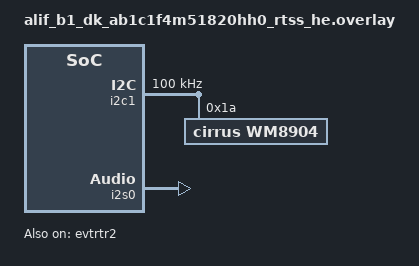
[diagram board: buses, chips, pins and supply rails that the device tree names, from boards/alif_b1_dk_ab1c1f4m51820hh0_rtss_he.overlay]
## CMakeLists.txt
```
# Copyright (C) 2025 Alif Semiconductor - All Rights Reserved.
# Use, distribution and modification of this code is permitted under the
# terms stated in the Alif Semiconductor Software License Agreement
#
# You should have received a copy of the Alif Semiconductor Software
# License Agreement with this file. If not, please write to:
# contact@alifsemi.com, or visit: https://alifsemi.com/license

cmake_minimum_required(VERSION 3.20.0)
find_package(Zephyr REQUIRED HINTS $ENV{ZEPHYR_BASE})
project(le_audio_broadcast_sink)

target_sources(app PRIVATE
    src/main.c
    src/broadcast_sink.c
    src/broadcast_source.c
    src/audio_datapath.c
    src/mode_switch_service.c
)
```

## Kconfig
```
# Copyright (C) 2025 Alif Semiconductor - All Rights Reserved.
# Use, distribution and modification of this code is permitted under the
# terms stated in the Alif Semiconductor Software License Agreement
#
# You should have received a copy of the Alif Semiconductor Software
# License Agreement with this file. If not, please write to:
# contact@alifsemi.com, or visit: https://alifsemi.com/license

menu "Alif Bluetooth LE Audio Broadcast Sink/Source"

config BLE_DEVICE_NAME
	string "BLE device name for GATT service"
	default "ALIF_MODE_SWITCH"
	help
	  Device name for the connectable GATT service (mode switching)

config BROADCAST_NAME
	string "LE audio broadcast name"
	default "ALIF_SOURCE"
	help
	  Broadcast name to connect to (sink) or advertise as (source)

config LE_AUDIO_PRESENTATION_DELAY_MS
	int "Presentation delay in ms"
	default 40
	range 0 1000
	help
	  LE audio presentation delay in ms. For the audio source use-case, this is defined as the
	  time in ms from the start of recording an audio frame, to the SDU reference anchor point
	  at which the SDU containing the same audio frame is sent over BLE.

config APP_PRINT_STATS
	bool "Print application statistics"
	default n
	help
	  Enable printing of application statistics and debug information

config APP_PRINT_STATS_INTERVAL
	int "Statistics printing interval"
	default 1024
	depends on APP_PRINT_STATS
	help
	  Interval for printing statistics (every N frames)

choice
	prompt "Choose way to determine left/right audio channels"
	default AUDIO_LOCATION_USE_GAF

	config AUDIO_LOCATION_USE_GAF
		bool "Use GAF audio location sent by audio source"
	config AUDIO_LOCATION_IMPLICIT
		bool "Assume left channel is first stream, and right channel is second"

endchoice

menu "Logging"

module = MAIN
module-str = main
source "subsys/logging/Kconfig.template.log_config"

module = BROADCAST_SINK
module-str = broadcast_sink
source "subsys/logging/Kconfig.template.log_config"

module = MODE_SWITCH_SERVICE
module-str = mode_switch_service
source "subsys/logging/Kconfig.template.log_config"

module = BROADCAST_SOURCE
module-str = broadcast_source
source "subsys/logging/Kconfig.template.log_config"

endmenu # "Logging"

endmenu # "Alif Bluetooth LE Audio Broadcast Sink/Source"

source "Kconfig.zephyr"
```

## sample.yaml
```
sample:
  name: LE Audio Broadcast Mode Switch
tests:
  sample.bt_custom.le_audio.broadcast_mode_switch:
    build_only: true
    filter: dt_alias_exists("i2s_bus")
    tags:
      - bluetooth
      - bt_custom
      - le_audio
```

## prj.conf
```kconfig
# Copyright Alif Semiconductor - All Rights Reserved.
# Use, distribution and modification of this code is permitted under the
# terms stated in the Alif Semiconductor Software License Agreement
#
# You should have received a copy of the Alif Semiconductor Software
# License Agreement with this file. If not, please write to:
# contact@alifsemi.com, or visit: https://alifsemi.com/license

CONFIG_BT=y
CONFIG_BT_CUSTOM=y
CONFIG_ALIF_ROM_LC3_CODEC=y
CONFIG_ALIF_BLE_AUDIO=y

# Device names
CONFIG_BLE_DEVICE_NAME="ALIF_MODE_SWITCH"
CONFIG_BROADCAST_NAME="ALIF_SOURCE"

CONFIG_LOG=y

CONFIG_PRESENTATION_COMPENSATION_DIRECTION_SINK=y
CONFIG_PRESENTATION_COMPENSATION_DIRECTION_SOURCE=y
CONFIG_PRESENTATION_COMPENSATION_CORRECTION_FACTOR=2

CONFIG_AUDIO=y
CONFIG_AUDIO_CODEC=y
CONFIG_AUDIO_CODEC_SHELL=y
CONFIG_SHELL=y

# This is specific to whichever clock you use. Currently presentation layer is
# commented out so this does nothing
CONFIG_AUDIO_CLOCK_DIVIDER=1

# Should be replaced by TRNG when support is available
CONFIG_TEST_RANDOM_GENERATOR=y

# malloc support is required, simplest way is using newlib although it would also be possible to
# configure heap for picolibc
CONFIG_NEWLIB_LIBC=y

# Driver support for audio
CONFIG_I2S=y
CONFIG_I2S_SYNC_BUFFER_FORMAT_SEQUENTIAL=n
CONFIG_DMA=y

# Determine left and right channels by index, not GAF
CONFIG_AUDIO_LOCATION_IMPLICIT=y

# Audio codec is WM8904, connected via I2C.
CONFIG_I2C=y
CONFIG_WM8904=y
CONFIG_I2C_INIT_PRIORITY=50
CONFIG_WM8904_INIT_PRIORITY=99

# For MRAM(XIP) builds with LLVM exception tables cause linker errors as part of the code is placed to TCM
CONFIG_CPP_EXCEPTIONS=n
```

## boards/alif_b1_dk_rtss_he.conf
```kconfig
# Copyright (C) 2023 Alif Semiconductor - All Rights Reserved.
# Use, distribution and modification of this code is permitted under the
# terms stated in the Alif Semiconductor Software License Agreement
#
# You should have received a copy of the Alif Semiconductor Software
# License Agreement with this file. If not, please write to:
# contact@alifsemi.com, or visit: https://alifsemi.com/license

# Audio driver support specific to B1 DK board.
# Audio codec is WM8904, connected via I2C.
# Audio clock is provided by SI570, connected via I2C using TCA9548 I2C mux.
CONFIG_SI570=y

# SI570 clock output is passed through a fixed /8 divider to create MCLK signal
CONFIG_AUDIO_CLOCK_DIVIDER=8

# 24 MHz FPGA bitstream is not fast enough to encode stereo
CONFIG_ALIF_BLE_AUDIO_NMB_CHANNELS=1
```

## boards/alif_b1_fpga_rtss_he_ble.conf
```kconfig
# Copyright (C) 2023 Alif Semiconductor - All Rights Reserved.
# Use, distribution and modification of this code is permitted under the
# terms stated in the Alif Semiconductor Software License Agreement
#
# You should have received a copy of the Alif Semiconductor Software
# License Agreement with this file. If not, please write to:
# contact@alifsemi.com, or visit: https://alifsemi.com/license

# Audio driver support specific to B1 FPGA board.
# Audio codec is WM8904, connected via I2C.
# Audio clock is provided by SI570, connected via I2C using TCA9548 I2C mux.
CONFIG_SI570=y
CONFIG_I2C_TCA954X_ROOT_INIT_PRIO=51
CONFIG_I2C_TCA954X_CHANNEL_INIT_PRIO=52

# SI570 clock output is passed through a fixed /8 divider to create MCLK signal
CONFIG_AUDIO_CLOCK_DIVIDER=8

# 24 MHz FPGA bitstream is not fast enough to encode stereo
CONFIG_ALIF_BLE_AUDIO_NMB_CHANNELS=1
```

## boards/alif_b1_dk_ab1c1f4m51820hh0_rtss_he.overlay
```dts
/* Copyright Alif Semiconductor - All Rights Reserved.
 * Use, distribution and modification of this code is permitted under the
 * terms stated in the Alif Semiconductor Software License Agreement
 *
 * You should have received a copy of the Alif Semiconductor Software
 * License Agreement with this file. If not, please write to:
 * contact@alifsemi.com, or visit: https://alifsemi.com/license
 *
 */

#include <dt-bindings/pinctrl/balletto-pinctrl.h>
#include <dt-bindings/i2c/i2c.h>
#include <dt-bindings/gpio/gpio.h>

#define I2S0_IRQ_NUM  141
#define I2S0_IRQ_PRIO 3

#define I2S0_DMA_RX_CH  2
#define I2S0_DMA_RX_REQ 24
#define I2S0_DMA_TX_CH  3
#define I2S0_DMA_TX_REQ 28

#define AUDIO_DMA_ENABLED 1

/* Enable to use Event Router driver instead of manual configuration
 * When enabled:
 * - DMA routing goes through event router driver
 * - Manual event router configuration is disabled
 * When disabled:
 * - Direct DMA approach with manual event router programming
 */
#define USE_EVENT_ROUTER_DRIVER   1

#if USE_EVENT_ROUTER_DRIVER
#include <zephyr/dt-bindings/dma/alif_dma_event_router.h>
#endif

/ {
	aliases {
		audio-codec = &wm8904;
		i2s-bus = &i2s0;
	};
};

&dma2 {
	status = "okay";
	dma-channels = <8>;
	interrupts = <0 3>, <1 3>, <2 3>, <3 3>, <4 3>, <5 3>,
		     <6 3>, <7 3>, <32 3>;
	interrupt-names = "channel0", "channel1",
			  "channel2", "channel3",
			  "channel4", "channel5",
			  "channel6", "channel7",
			  "abort";
};

&i2c1 {
	clock-frequency = <I2C_BITRATE_STANDARD>;
	status = "okay";

	wm8904: wm8904@1a {
		compatible = "cirrus,wm8904";
		reg = <0x1a>;
		status = "okay";
	};
};

#if USE_EVENT_ROUTER_DRIVER
/* Event Router driver approach: route through event router */

&evtrtr2 {
	status = "okay";
};

&i2s0 {
	/delete-property/ clock-frequency;
	/delete-property/ driver-instance;
	compatible = "alif,i2s-sync";
	interrupts = <I2S0_IRQ_NUM I2S0_IRQ_PRIO>;
	bit-depth = <16>;
	sample-rate = <48000>;
	status = "okay";
#if AUDIO_DMA_ENABLED
	/*
	 * Cell 0: ALIF_DMA_ENCODE(channel, dma_group, handshake)
	 *   - channel: Physical DMA channel (2 for RX, 3 for TX)
	 *   - dma_group: Input source selection (1) - selects which peripheral input
	 *   - handshake: Enable hardware handshaking (1 for I2S)
	 * Cell 1: Peripheral request number (24 for RX, 28 for TX)
	 */
	dmas = <&evtrtr2 ALIF_DMA_ENCODE(I2S0_DMA_RX_CH, 1, 1) I2S0_DMA_RX_REQ>,
	       <&evtrtr2 ALIF_DMA_ENCODE(I2S0_DMA_TX_CH, 1, 1) I2S0_DMA_TX_REQ>;
	dma-names = "rxdma", "txdma";
#endif
};

#else
/* Direct DMA approach: manual event router configuration */

&i2s0 {
	/delete-property/ clock-frequency;
	/delete-property/ driver-instance;
	compatible = "alif,i2s-sync";
	interrupts = <I2S0_IRQ_NUM I2S0_IRQ_PRIO>;
	bit-depth = <16>;
	sample-rate = <48000>;
	status = "okay";
#if AUDIO_DMA_ENABLED
	/* Direct PL330 DMA specifier format:
	 * Cell 0: PL330 physical channel (2 for RX, 3 for TX)
	 * Cell 1: PL330 peripheral request (24 for RX, 28 for TX)
	 * Note: Event router must be manually configured
	 */
	dmas = <&dma2 I2S0_DMA_RX_CH I2S0_DMA_RX_REQ>,
	       <&dma2 I2S0_DMA_TX_CH I2S0_DMA_TX_REQ>;
	dma-names = "rxdma", "txdma";
#endif
};

#endif /* USE_EVENT_ROUTER_DRIVER */

&pinctrl_i2c1 {
	group0 {
		pinmux = <PIN_P7_3__I2C1_SCL_C>,
			 <PIN_P7_2__I2C1_SDA_C>;
	};
};

&pinctrl_i2s0 {
	group0 {
		pinmux = <PIN_P2_4__I2S0_SDI_B>,
			 <PIN_P2_5__I2S0_SDO_B>,
			 <PIN_P1_7__I2S0_WS_A>,
			 <PIN_P1_6__I2S0_SCLK_A>;
	};
};

/* Disable unnecessary nodes */
&i2s1 {
	status = "disabled";
};

&uart_ahi {
	status = "disabled";
};
```

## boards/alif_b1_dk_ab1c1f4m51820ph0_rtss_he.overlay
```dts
/* Copyright Alif Semiconductor - All Rights Reserved.
 * Use, distribution and modification of this code is permitted under the
 * terms stated in the Alif Semiconductor Software License Agreement
 *
 * You should have received a copy of the Alif Semiconductor Software
 * License Agreement with this file. If not, please write to:
 * contact@alifsemi.com, or visit: https://alifsemi.com/license
 *
 */

#include <dt-bindings/pinctrl/balletto-pinctrl.h>
#include <dt-bindings/i2c/i2c.h>
#include <dt-bindings/gpio/gpio.h>

#define I2S0_IRQ_NUM  141
#define I2S0_IRQ_PRIO 3

#define I2S0_DMA_RX_CH  2
#define I2S0_DMA_RX_REQ 24
#define I2S0_DMA_TX_CH  3
#define I2S0_DMA_TX_REQ 28

#define AUDIO_DMA_ENABLED 1


#include <zephyr/dt-bindings/dma/alif_dma_event_router.h>

/ {
	aliases {
		audio-codec = &wm8904;
		i2s-bus = &i2s0;
	};
};

&dma2 {
	status = "okay";
	dma-channels = <8>;
	interrupts = <0 3>, <1 3>, <2 3>, <3 3>, <4 3>, <5 3>,
		     <6 3>, <7 3>, <32 3>;
	interrupt-names = "channel0", "channel1",
			  "channel2", "channel3",
			  "channel4", "channel5",
			  "channel6", "channel7",
			  "abort";
};

&i2c1 {
	clock-frequency = <I2C_BITRATE_STANDARD>;
	status = "okay";

	wm8904: wm8904@1a {
		compatible = "cirrus,wm8904";
		reg = <0x1a>;
		status = "okay";
	};
};

&evtrtr2 {
	status = "okay";
};

&i2s0 {
	/delete-property/ clock-frequency;
	/delete-property/ driver-instance;
	compatible = "alif,i2s-sync";
	interrupts = <I2S0_IRQ_NUM I2S0_IRQ_PRIO>;
	bit-depth = <16>;
	sample-rate = <48000>;
	status = "okay";
#if AUDIO_DMA_ENABLED
	/*
	 * Cell 0: ALIF_DMA_ENCODE(channel, dma_group, handshake)
	 *   - channel: Physical DMA channel (2 for RX, 3 for TX)
	 *   - dma_group: Input source selection (1) - selects which peripheral input
	 *   - handshake: Enable hardware handshaking (1 for I2S)
	 * Cell 1: Peripheral request number (24 for RX, 28 for TX)
	 */
	dmas = <&evtrtr2 ALIF_DMA_ENCODE(I2S0_DMA_RX_CH, 1, 1) I2S0_DMA_RX_REQ>,
	       <&evtrtr2 ALIF_DMA_ENCODE(I2S0_DMA_TX_CH, 1, 1) I2S0_DMA_TX_REQ>;
	dma-names = "rxdma", "txdma";
#endif
};

&pinctrl_i2c1 {
	group0 {
		pinmux = <PIN_P7_3__I2C1_SCL_C>,
			 <PIN_P7_2__I2C1_SDA_C>;
	};
};

&pinctrl_i2s0 {
	group0 {
		pinmux = <PIN_P2_4__I2S0_SDI_B>,
			 <PIN_P2_5__I2S0_SDO_B>,
			 <PIN_P1_7__I2S0_WS_A>,
			 <PIN_P1_6__I2S0_SCLK_A>;
	};
};

/* Disable unnecessary nodes */
&i2s1 {
	status = "disabled";
};

&uart_ahi {
	status = "disabled";
};
```

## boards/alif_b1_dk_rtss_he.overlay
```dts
/* Copyright Alif Semiconductor - All Rights Reserved.
 * Use, distribution and modification of this code is permitted under the
 * terms stated in the Alif Semiconductor Software License Agreement
 *
 * You should have received a copy of the Alif Semiconductor Software
 * License Agreement with this file. If not, please write to:
 * contact@alifsemi.com, or visit: https://alifsemi.com/license
 *
 */

#include <dt-bindings/pinctrl/balletto-pinctrl.h>
#include <dt-bindings/i2c/i2c.h>
#include <dt-bindings/gpio/gpio.h>

#define I2S0_IRQ_NUM  141
#define I2S0_IRQ_PRIO 3

#define I2S0_DMA_RX_CH  2
#define I2S0_DMA_RX_REQ 24
#define I2S0_DMA_TX_CH  3
#define I2S0_DMA_TX_REQ 28

#define AUDIO_DMA_ENABLED 1

/ {
	aliases {
		audio-codec = &wm8904;
		i2s-bus = &i2s0;
	};
};

&dma2 {
	status = "okay";
	dma-channels = <8>;
	interrupts = <0 3>, <1 3>, <2 3>, <3 3>, <4 3>, <5 3>,
		     <6 3>, <7 3>, <32 3>;
	interrupt-names = "channel0", "channel1",
			  "channel2", "channel3",
			  "channel4", "channel5",
			  "channel6", "channel7",
			  "abort";
};

&i2c1 {
	clock-frequency = <I2C_BITRATE_STANDARD>;
	status = "okay";

	wm8904: wm8904@1a {
		compatible = "cirrus,wm8904";
		reg = <0x1a>;
		status = "okay";
	};
};

&i2s0 {
	/delete-property/ clock-frequency;
	/delete-property/ driver-instance;
	compatible = "alif,i2s-sync";
	interrupts = <I2S0_IRQ_NUM I2S0_IRQ_PRIO>;
	bit-depth = <16>;
	sample-rate = <48000>;
	status = "okay";
#if AUDIO_DMA_ENABLED
	dmas = <&dma2 I2S0_DMA_RX_CH I2S0_DMA_RX_REQ>,
	       <&dma2 I2S0_DMA_TX_CH I2S0_DMA_TX_REQ>;
	dma-names = "rxdma", "txdma";
#endif
};

&pinctrl_i2c1 {
	group0 {
		pinmux = <PIN_P7_3__I2C1_SCL_C>,
			 <PIN_P7_2__I2C1_SDA_C>;
	};
};

&pinctrl_i2s0 {
	group0 {
		pinmux = <PIN_P2_4__I2S0_SDI_B>,
			 <PIN_P2_5__I2S0_SDO_B>,
			 <PIN_P1_7__I2S0_WS_A>,
			 <PIN_P1_6__I2S0_SCLK_A>;
	};
};

/* Disable unnecessary nodes */
&i2s1 {
	status = "disabled";
};

&uart_ahi {
	status = "disabled";
};
```

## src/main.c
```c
/* Copyright Alif Semiconductor - All Rights Reserved.
 * Use, distribution and modification of this code is permitted under the
 * terms stated in the Alif Semiconductor Software License Agreement
 *
 * You should have received a copy of the Alif Semiconductor Software
 * License Agreement with this file. If not, please write to:
 * contact@alifsemi.com, or visit: https://alifsemi.com/license
 */

#include <zephyr/kernel.h>
#include <zephyr/logging/log.h>
#include <zephyr/sys/__assert.h>
#include "alif_ble.h"
#include "gapm.h"
#include "gap_le.h"
#include "gapc_le.h"
#include "gapc_sec.h"
#include "gapm_le.h"
#include "gapm_le_adv.h"
#include "co_buf.h"
#include "broadcast_sink.h"
#include "broadcast_source.h"
#include "mode_switch_service.h"

LOG_MODULE_REGISTER(main, CONFIG_MAIN_LOG_LEVEL);

/* Semaphores definition */
K_SEM_DEFINE(init_sem, 0, 1);

/* Store advertising activity index for re-starting after disconnection */
static uint8_t adv_actv_idx;

/* Connection status */
static uint8_t conn_status; /* 0 = disconnected, 1 = connected */

/* Device name - use configurable name */
#define DEVICE_NAME CONFIG_BLE_DEVICE_NAME

/**
 * Bluetooth stack configuration - Combined role: Observer + Peripheral
 */
static const gapm_config_t gapm_cfg = {
	.role = GAP_ROLE_LE_OBSERVER | GAP_ROLE_LE_PERIPHERAL,
	.pairing_mode = GAPM_PAIRING_DISABLE,
	.privacy_cfg = 0,
	.renew_dur = 1500,
	.private_identity.addr = {0, 0, 0, 0, 0, 0},
	.irk.key = {0, 0, 0, 0, 0, 0, 0, 0, 0, 0, 0, 0, 0, 0, 0, 0},
	.gap_start_hdl = 0,
	.gatt_start_hdl = 0,
	.att_cfg = 0,
	.sugg_max_tx_octets = GAP_LE_MAX_OCTETS,
	.sugg_max_tx_time = GAP_LE_MIN_TIME,
	.tx_pref_phy = GAP_PHY_ANY,
	.rx_pref_phy = GAP_PHY_ANY,
	.tx_path_comp = 0,
	.rx_path_comp = 0,
	.class_of_device = 0,  /* BT Classic only */
	.dflt_link_policy = 0, /* BT Classic only */
};

static uint16_t start_le_adv(uint8_t actv_idx)
{
	gapm_le_adv_param_t adv_params = {
		.duration = 0, /* Advertise indefinitely */
	};

	uint16_t err = gapm_le_start_adv(actv_idx, &adv_params);

	if (err) {
		LOG_ERR("Failed to start LE advertising with error %u", err);
	}

	return err;
}

/**
 * Bluetooth GAPM callbacks
 */
static void on_le_connection_req(uint8_t conidx, uint32_t metainfo, uint8_t actv_idx, uint8_t role,
				 const gap_bdaddr_t *p_peer_addr,
				 const gapc_le_con_param_t *p_con_params, uint8_t clk_accuracy)
{
	LOG_INF("Connection request on index %u", conidx);
	gapc_le_connection_cfm(conidx, 0, NULL);

	LOG_DBG("Connection parameters: interval %u, latency %u, supervision timeout %u",
		p_con_params->interval, p_con_params->latency, p_con_params->sup_to);

	LOG_HEXDUMP_DBG(p_peer_addr->addr, GAP_BD_ADDR_LEN, "Peer BD address");

	conn_status = 1;
	LOG_INF("Device connected - mode switch service available");
}

static void on_key_received(uint8_t conidx, uint32_t metainfo, const gapc_pairing_keys_t *p_keys)
{
	LOG_WRN("Unexpected key received key on conidx %u", conidx);
}

static void on_disconnection(uint8_t conidx, uint32_t metainfo, uint16_t reason)
{
	LOG_INF("Connection index %u disconnected for reason %u", conidx, reason);

	conn_status = 0;
	uint16_t err = start_le_adv(adv_actv_idx);

	if (err) {
		LOG_ERR("Error restarting advertising: %u", err);
	} else {
		LOG_DBG("Restarting advertising");
	}
}

static void on_name_get(uint8_t conidx, uint32_t metainfo, uint16_t token, uint16_t offset,
			uint16_t max_len)
{
	const size_t device_name_len = sizeof(DEVICE_NAME) - 1;
	const size_t short_len = (device_name_len > max_len ? max_len : device_name_len);

	gapc_le_get_name_cfm(conidx, token, GAP_ERR_NO_ERROR, device_name_len, short_len,
			     (const uint8_t *)DEVICE_NAME);
}

static void on_appearance_get(uint8_t conidx, uint32_t metainfo, uint16_t token)
{
	/* Send 'unknown' appearance */
	gapc_le_get_appearance_cfm(conidx, token, GAP_ERR_NO_ERROR, 0);
}

static const gapc_connection_req_cb_t gapc_con_cbs = {
	.le_connection_req = on_le_connection_req,
};

static const gapc_security_cb_t gapc_sec_cbs = {
	.key_received = on_key_received,
	/* All other callbacks in this struct are optional */
};

static const gapc_connection_info_cb_t gapc_con_inf_cbs = {
	.disconnected = on_disconnection,
	.name_get = on_name_get,
	.appearance_get = on_appearance_get,
	/* Other callbacks in this struct are optional */
};

/* All callbacks in this struct are optional */
static const gapc_le_config_cb_t gapc_le_cfg_cbs;

static void on_gapm_err(uint32_t metainfo, uint8_t code)
{
	LOG_ERR("gapm error %d", code);
}

static const gapm_cb_t gapm_err_cbs = {
	.cb_hw_error = on_gapm_err,
};

static const gapm_callbacks_t gapm_cbs = {
	.p_con_req_cbs = &gapc_con_cbs,
	.p_sec_cbs = &gapc_sec_cbs,
	.p_info_cbs = &gapc_con_inf_cbs,
	.p_le_config_cbs = &gapc_le_cfg_cbs,
	.p_bt_config_cbs = NULL, /* BT classic so not required */
	.p_gapm_cbs = &gapm_err_cbs,
};

static uint16_t set_advertising_data(uint8_t actv_idx)
{
	const size_t device_name_len = strlen(DEVICE_NAME);
	const uint16_t adv_len = device_name_len + 2;

	co_buf_t *p_buf;
	uint16_t err = co_buf_alloc(&p_buf, 0, adv_len, 0);

	__ASSERT(err == 0, "Buffer allocation failed");

	uint8_t *p_data = co_buf_data(p_buf);

	p_data[0] = adv_len - 1;
	p_data[1] = 0x09; /* Complete local name */
	memcpy(p_data + 2, DEVICE_NAME, device_name_len);

	err = gapm_le_set_adv_data(actv_idx, p_buf);
	co_buf_release(p_buf); /* Release ownership of buffer so stack can free it when done */
	if (err) {
		LOG_ERR("Failed to set advertising data with error %u", err);
	}

	return err;
}

static uint16_t set_scan_data(uint8_t actv_idx)
{
	/* We must set scan response data, even if it is empty */
	const uint16_t scan_len = 0;

	co_buf_t *p_buf;
	uint16_t err = co_buf_alloc(&p_buf, 0, scan_len, 0);

	__ASSERT(err == 0, "Buffer allocation failed");

	err = gapm_le_set_scan_response_data(actv_idx, p_buf);
	co_buf_release(p_buf); /* Release ownership of buffer so stack can free it when done */
	if (err) {
		LOG_ERR("Failed to set scan data with error %u", err);
	}

	return err;
}

/**
 * Advertising callbacks
 */
static void on_adv_actv_stopped(uint32_t metainfo, uint8_t actv_idx, uint16_t reason)
{
	LOG_DBG("Advertising activity index %u stopped for reason %u", actv_idx, reason);
}

static void on_adv_actv_proc_cmp(uint32_t metainfo, uint8_t proc_id, uint8_t actv_idx,
				 uint16_t status)
{
	if (status) {
		LOG_ERR("Advertising activity process completed with error %u", status);
		return;
	}

	switch (proc_id) {
	case GAPM_ACTV_CREATE_LE_ADV:
		LOG_DBG("Advertising activity is created");
		adv_actv_idx = actv_idx;
		set_advertising_data(actv_idx);
		break;

	case GAPM_ACTV_SET_ADV_DATA:
		LOG_DBG("Advertising data is set");
		set_scan_data(actv_idx);
		break;

	case GAPM_ACTV_SET_SCAN_RSP_DATA:
		LOG_DBG("Scan data is set");
		start_le_adv(actv_idx);
		break;

	case GAPM_ACTV_START:
		k_sem_give(&init_sem);
		break;

	default:
		LOG_WRN("Unexpected GAPM activity complete, proc_id %u", proc_id);
		break;
	}
}

static void on_adv_created(uint32_t metainfo, uint8_t actv_idx, int8_t tx_pwr)
{
	LOG_DBG("Advertising activity created, index %u, selected tx power %d", actv_idx, tx_pwr);
}

static const gapm_le_adv_cb_actv_t le_adv_cbs = {
	.hdr.actv.stopped = on_adv_actv_stopped,
	.hdr.actv.proc_cmp = on_adv_actv_proc_cmp,
	.created = on_adv_created,
};

static uint16_t create_advertising(void)
{
	uint16_t err;

	gapm_le_adv_create_param_t adv_create_params = {
		.prop = GAPM_ADV_PROP_UNDIR_CONN_MASK,
		.disc_mode = GAPM_ADV_MODE_GEN_DISC,
		.tx_pwr = 0,
		.filter_pol = GAPM_ADV_ALLOW_SCAN_ANY_CON_ANY,
		.prim_cfg = {
				.adv_intv_min = 160,
				.adv_intv_max = 800,
				.ch_map = ADV_ALL_CHNLS_EN,
				.phy = GAPM_PHY_TYPE_LE_1M,
			},
	};

	err = gapm_le_create_adv_legacy(0, GAPM_STATIC_ADDR, &adv_create_params, &le_adv_cbs);
	if (err) {
		LOG_ERR("Error %u creating advertising activity", err);
	}

	return err;
}

/* Add service to the stack */
static void server_configure(void)
{
	uint16_t err;

	/* Configure BAP BC sink modules once during initialization */
	err = broadcast_sink_configure();
	if (err) {
		LOG_ERR("Error %u configuring broadcast sink modules", err);
	} else {
		LOG_INF("BAP BC sink modules configured successfully");
	}

	/* Configure BAP BC source modules once during initialization */
	err = broadcast_source_configure();
	if (err) {
		LOG_ERR("Error %u configuring broadcast source modules", err);
	} else {
		LOG_INF("BAP BC source modules configured successfully");
	}

	/* Start the mode switch service */
	err = mode_switch_service_start();
	if (err) {
		LOG_ERR("Error %u starting mode switch service", err);
	}

	LOG_INF("Mode switch service started with BAP BC modules configured");
}

void on_gapm_process_complete(uint32_t metainfo, uint16_t status)
{
	if (status) {
		LOG_ERR("gapm process completed with error %u", status);
		return;
	}

	LOG_INF("gapm process completed successfully");

	server_configure();

	create_advertising();
}

int main(void)
{
	int ret = alif_ble_enable(NULL);

	if (ret) {
		LOG_ERR("Failed to enable bluetooth, err %d", ret);
		return ret;
	}

	LOG_INF("BLE enabled");

	uint16_t err = gapm_configure(0, &gapm_cfg, &gapm_cbs, on_gapm_process_complete);

	if (err != 0) {
		LOG_ERR("gapm_configure error %u", err);
		return -1;
	}

	k_sem_take(&init_sem, K_FOREVER);

	LOG_INF("Connect to the '%s' to access the mode switch service", DEVICE_NAME);

	for (;;) {
		k_sleep(K_SECONDS(5));
	}

	return 0;
}
```

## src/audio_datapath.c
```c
/* Copyright (C) 2025 Alif Semiconductor - All Rights Reserved.
 * Use, distribution and modification of this code is permitted under the
 * terms stated in the Alif Semiconductor Software License Agreement
 *
 * You should have received a copy of the Alif Semiconductor Software
 * License Agreement with this file. If not, please write to:
 * contact@alifsemi.com, or visit: https://alifsemi.com/license
 */

#include <zephyr/kernel.h>
#include <zephyr/device.h>
#include <zephyr/init.h>
#include <zephyr/logging/log.h>
#include <zephyr/drivers/i2s.h>
#include <zephyr/audio/codec.h>
#include <zephyr/random/random.h>
#include "bluetooth/le_audio/audio_decoder.h"
#include "bluetooth/le_audio/audio_encoder.h"
#include "bluetooth/le_audio/audio_source_i2s.h"
#include "bluetooth/le_audio/audio_utils.h"
#include "bluetooth/le_audio/presentation_compensation.h"
#include "audio_datapath.h"

LOG_MODULE_REGISTER(audio_datapath, CONFIG_BLE_AUDIO_LOG_LEVEL);

#define CODEC_NODE DT_ALIAS(audio_codec)
#define I2S_NODE   DT_ALIAS(i2s_bus)

struct audio_datapath {
	struct audio_decoder *decoder;
	struct audio_encoder *encoder;
	size_t octets_per_frame;
};

static struct audio_datapath env;

static int broadcast_audio_path_init(void)
{
	int ret;

	/* Check all devices are ready */
	ret = device_is_ready(DEVICE_DT_GET(I2S_NODE));
	if (!ret) {
		LOG_ERR("I2S is not ready");
		return -1;
	}

	ret = device_is_ready(DEVICE_DT_GET(CODEC_NODE));
	if (!ret) {
		LOG_ERR("Audio codec is not ready");
		return -1;
	}

	return 0;
}

SYS_INIT(broadcast_audio_path_init, APPLICATION, 0);

#if CONFIG_APP_PRINT_STATS
static void print_sdus(void *context, uint32_t timestamp, uint16_t sdu_seq)
{
	static uint16_t last_sdu;

	if (last_sdu && (last_sdu + 1 < sdu_seq)) {
		LOG_INF("SDU sequence number jumps, last: %u, now: %u", last_sdu, sdu_seq);
	}
	last_sdu = sdu_seq;

	if (0 == (sdu_seq % 128)) {
		LOG_INF("SDU sequence number %u", sdu_seq);
	}
}
#endif

#ifdef CONFIG_PRESENTATION_COMPENSATION_DEBUG
void on_timing_debug_info_ready(struct presentation_comp_debug_data *dbg_data)
{
	LOG_INF("Presentation compensation debug data is ready");
}
#endif

int audio_datapath_create_sink(struct audio_datapath_config const *const cfg)
{
	int ret;

	if (!cfg) {
		__ASSERT(false, "Datapath configuration missing");
		return -EINVAL;
	}

	if (env.decoder) {
		return -EALREADY;
	}

	env.octets_per_frame = cfg->octets_per_frame;

	/* Configure codec */
	struct audio_codec_cfg codec_cfg = {
		.dai_type = AUDIO_DAI_TYPE_I2S,
		.dai_cfg = {
			.i2s = {
				.word_size = AUDIO_PCM_WIDTH_16_BITS,
				.channels = 2,
				.format = I2S_FMT_DATA_FORMAT_I2S,
				.options = 0,
				.frame_clk_freq = cfg->sampling_rate_hz,
				.mem_slab = NULL,
				.block_size = 0,
				.timeout = 0,
			},
		},
	};

	ret = audio_codec_configure(DEVICE_DT_GET(CODEC_NODE), &codec_cfg);
	if (ret) {
		LOG_ERR("Failed to configure sink codec. err %d", ret);
		return ret;
	}
	audio_codec_start_output(DEVICE_DT_GET(CODEC_NODE));

	struct audio_decoder_params const dec_params = {
		.i2s_dev = cfg->i2s_dev,
		.frame_duration_us = cfg->frame_duration_is_10ms ? 10000 : 7500,
		.sampling_rate_hz = cfg->sampling_rate_hz,
		.pres_delay_us = cfg->pres_delay_us,
	};

	env.decoder = audio_decoder_create(&dec_params);
	if (env.decoder == NULL) {
		LOG_ERR("Failed to create audio decoder");
		return -ENOMEM;
	}

	/* TODO: Change MCLK to use alif clock control */

	/* ret = presentation_compensation_configure(cfg->mclk_dev, pres_delay_us);
	 * if (ret != 0) {
	 *	LOG_ERR("Failed to configure presentation compensation module, err %d", ret);
	 *	return ret;
	 * }
	 */

	/* Add presentation compensation callback to notify audio sink */
	/* ret = presentation_compensation_register_cb(audio_sink_i2s_apply_timing_correction);
	 * if (ret != 0) {
	 *	LOG_ERR("Failed to register presentation compensation callback, err %d", ret);
	 *	return ret;
	 * }
	 */

#ifdef CONFIG_PRESENTATION_COMPENSATION_DEBUG
	/* ret = presentation_compensation_register_debug_cb(on_timing_debug_info_ready);
	 * if (ret != 0) {
	 *	LOG_ERR("Failed to register presentation compensation debug callback, err %d", ret);
	 *	return ret;
	 * }
	 */
#endif

#if CONFIG_APP_PRINT_STATS
	ret = audio_decoder_register_cb(env.decoder, print_sdus, NULL);

	if (ret != 0) {
		LOG_ERR("Failed to register decoder cb, err %d", ret);
		return ret;
	}
#endif

	LOG_INF("Created audio datapath");

	return 0;
}

int audio_datapath_channel_create_sink(size_t const octets_per_frame, uint8_t const ch_index)
{
	int ret = audio_decoder_add_channel(env.decoder, octets_per_frame, ch_index);

	if (ret) {
		LOG_ERR("Failed to create channel %u, err %d", ch_index, ret);
		return ret;
	}

	return 0;
}

int audio_datapath_channel_start_sink(uint8_t const ch_index)
{
	int ret = audio_decoder_start_channel(env.decoder, ch_index);

	if (ret) {
		LOG_ERR("Failed to start channel %u, err %d", ch_index, ret);
		return ret;
	}

	return 0;
}

int audio_datapath_start_sink(void)
{
	for (int iter = 0; iter < CONFIG_ALIF_BLE_AUDIO_NMB_CHANNELS; iter++) {
		audio_datapath_channel_create_sink(env.octets_per_frame, iter);
	}

	for (int iter = 0; iter < CONFIG_ALIF_BLE_AUDIO_NMB_CHANNELS; iter++) {
		audio_datapath_channel_start_sink(iter);
	}

	LOG_INF("Audio datapath started");

	return 0;
}

int audio_datapath_cleanup_sink(void)
{
	audio_decoder_delete(env.decoder);
	env.decoder = NULL;

	/* Stop codec output */
	audio_codec_stop_output(DEVICE_DT_GET(CODEC_NODE));

	LOG_INF("Audio decoder deleted");

	return 0;
}

#if CONFIG_APP_PRINT_STATS
static void on_frame_complete(void *param, uint32_t timestamp, uint16_t sdu_seq)
{
	if ((sdu_seq % CONFIG_APP_PRINT_STATS_INTERVAL) == 0) {
		LOG_INF("SDU sequence number: %u", sdu_seq);
	}
}
#endif

int audio_datapath_create_source(struct audio_datapath_config const *const cfg)
{
	int ret;
	
	if (!cfg) {
		__ASSERT(false, "Datapath configuration missing");
		return -EINVAL;
	}

	if (env.encoder) {
		return -EALREADY;
	}

	/* Configure codec */
	struct audio_codec_cfg codec_cfg = {
		.dai_type = AUDIO_DAI_TYPE_I2S,
		.dai_cfg = {
			.i2s = {
				.word_size = AUDIO_PCM_WIDTH_16_BITS,
				.channels = 2,
				.format = I2S_FMT_DATA_FORMAT_I2S,
				.options = 0,
				.frame_clk_freq = cfg->sampling_rate_hz,
				.mem_slab = NULL,
				.block_size = 0,
				.timeout = 0,
			},
		},
	};

	ret = audio_codec_configure(DEVICE_DT_GET(CODEC_NODE), &codec_cfg);
	if (ret) {
		LOG_ERR("Failed to configure source codec. err %d", ret);
		return ret;
	}
	audio_codec_start_output(DEVICE_DT_GET(CODEC_NODE));

	struct audio_encoder_params const enc_params = {
		.i2s_dev = cfg->i2s_dev,
		.frame_duration_us = cfg->frame_duration_is_10ms ? 10000 : 7500,
		.sampling_rate_hz = cfg->sampling_rate_hz,
		.audio_buffer_len_us = cfg->pres_delay_us,
	};

	env.encoder = audio_encoder_create(&enc_params);
	if (!env.encoder) {
		LOG_ERR("Failed to create audio encoder");
		return -ENODEV;
	}

#if CONFIG_APP_PRINT_STATS
	int ret = audio_encoder_register_cb(env.encoder, on_frame_complete, NULL);

	if (ret != 0) {
		LOG_ERR("Failed to register encoder cb for stats, err %d", ret);
		return ret;
	}
#endif

	LOG_INF("Source audio datapath initialized");
	return 0;
}

int audio_datapath_channel_create_source(size_t octets_per_frame, uint8_t stream_lid)
{
	if (!env.encoder) {
		return -EINVAL;
	}

	int err = audio_encoder_add_channel(env.encoder, octets_per_frame, stream_lid);
	if (err) {
		LOG_ERR("Failed to add stream channel %u. err %d", stream_lid, err);
		return err;
	}

	return 0;
}

int audio_datapath_channel_start_source(uint8_t stream_lid)
{
	if (!env.encoder) {
		return -EINVAL;
	}

	int retval = audio_encoder_start_channel(env.encoder, stream_lid);
	if (retval != 0) {
		LOG_ERR("Failed to start channel %d, err %d", stream_lid, retval);
		__ASSERT(false, "Failed to start channel");
	}

	LOG_INF("Source audio datapath started for stream %d", stream_lid);
	return 0;
}

int audio_datapath_cleanup_source(void)
{
    if (env.encoder) {
        audio_encoder_delete(env.encoder);
        env.encoder = NULL;

        audio_codec_stop_output(DEVICE_DT_GET(CODEC_NODE));

		LOG_INF("Audio encoder deleted");
    }

    return 0;
}
```

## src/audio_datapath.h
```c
/* Copyright (C) 2025 Alif Semiconductor - All Rights Reserved.
 * Use, distribution and modification of this code is permitted under the
 * terms stated in the Alif Semiconductor Software License Agreement
 *
 * You should have received a copy of the Alif Semiconductor Software
 * License Agreement with this file. If not, please write to:
 * contact@alifsemi.com, or visit: https://alifsemi.com/license
 */

#ifndef _AUDIO_DATAPATH_H
#define _AUDIO_DATAPATH_H

#include <zephyr/types.h>
#include <zephyr/device.h>
#include <stdbool.h>

struct audio_datapath_config {
	const struct device *i2s_dev;
	/* const struct device *mclk_dev; */
	uint32_t pres_delay_us;
	uint32_t sampling_rate_hz;
	uint16_t octets_per_frame;
	bool frame_duration_is_10ms;
};

/**
 * @brief Create the audio datapath for sink
 *
 * Creates and configures all of the required elements to stream audio from Bluetooth LE to I2S.
 * This includes configuring and starting the codec.
 *
 * @param cfg Desired configuration of the audio datapath
 *
 * @retval 0 if successful
 * @retval Negative error code on failure
 */
int audio_datapath_create_sink(struct audio_datapath_config const *cfg);

/**
 * @brief Create a channel for the audio datapath
 *
 * Creates a channel for the audio decoder.
 *
 * @param octets_per_frame Number of octets per frame
 * @param ch_index Channel index
 *
 * @retval 0 if successful
 * @retval Negative error code on failure
 */
int audio_datapath_channel_create_sink(size_t const octets_per_frame, uint8_t const ch_index);

/**
 * @brief Start a channel for the audio datapath
 *
 * Starts a channel for the audio decoder.
 *
 * @param ch_index Channel index
 *
 * @retval 0 if successful
 * @retval Negative error code on failure
 */
int audio_datapath_channel_start_sink(uint8_t const ch_index);

/**
 * @brief Start the audio datapath
 *
 * Starts reception of the first SDU over the ISO datapath, which when received starts off the
 * operation of the rest of the datapath.
 *
 * @retval 0 if successful
 * @retval Negative error code on failure
 */
int audio_datapath_start_sink(void);

/**
 * @brief Clean up the audio datapath
 *
 * Stops the audio datapath and cleans up all elements created by audio_datapath_create_sink,
 * freeing any allocated memory if necessary. After calling this function, it is possible to create
 * a new audio datapath again using audio_datapath_create_sink.
 *
 * @retval 0 if successful
 * @retval Negative error code on failure
 */
int audio_datapath_cleanup_sink(void);

/**
 * @brief Create the audio datapath for source
 *
 * Creates and configures all of the required elements to stream audio from I2S to Bluetooth LE.
 * This includes configuring and starting the codec input.
 *
 * @param cfg Desired configuration of the audio datapath
 *
 * @retval 0 if successful
 * @retval Negative error code on failure
 */
int audio_datapath_create_source(struct audio_datapath_config const *cfg);

/**
 * @brief Add a channel to the audio encoder
 *
 * Adds a channel to the audio encoder for source streaming.
 *
 * @param octets_per_frame Number of octets per frame
 * @param stream_lid Stream local ID
 *
 * @retval 0 if successful
 * @retval Negative error code on failure
 */
int audio_datapath_channel_create_source(size_t octets_per_frame, uint8_t stream_lid);

/**
 * @brief Start a channel for the audio datapath source
 *
 * Starts a channel for the audio encoder.
 *
 * @param stream_lid Stream local ID
 *
 * @retval 0 if successful
 * @retval Negative error code on failure
 */
int audio_datapath_channel_start_source(uint8_t stream_lid);

/**
 * @brief Clean up the audio datapath for source
 *
 * Stops and cleans up all source audio datapath elements.
 *
 * @retval 0 if successful
 * @retval Negative error code on failure
 */
int audio_datapath_cleanup_source(void);

#endif /* _AUDIO_DATAPATH_H */
```

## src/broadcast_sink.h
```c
/**
 * Copyright (C) 2025 Alif Semiconductor - All Rights Reserved.
 * Use, distribution and modification of this code is permitted under the
 * terms stated in the Alif Semiconductor Software License Agreement
 *
 * You should have received a copy of the Alif Semiconductor Software
 * License Agreement with this file. If not, please write to:
 * contact@alifsemi.com, or visit: https://alifsemi.com/license
 */

#ifndef _BROADCAST_SINK_H
#define _BROADCAST_SINK_H

/**
 * @brief Configure the BAP BC modules (scan and sink)
 *
 * This function should be called once during initialization.
 * Subsequent calls will be ignored if already configured.
 *
 * @retval 0 on success
 * @retval Negative error code on failure
 */
int broadcast_sink_configure(void);

/**
 * @brief Start the LE audio broadcast sink
 *
 * This function will configure the modules if not already done,
 * then start scanning for broadcast sources.
 *
 * @retval 0 on success
 * @retval Negative error code on failure
 */
int broadcast_sink_start(void);

/**
 * @brief Start scanning for broadcast sources
 *
 * This function only starts scanning. The BAP BC modules must
 * be configured first using broadcast_sink_configure().
 *
 * @retval 0 on success
 * @retval Negative error code on failure
 */
int broadcast_sink_start_scanning(void);

/**
 * @brief Stop the LE audio broadcast sink
 *
 * @retval 0 on success
 * @retval Negative error code on failure
 */
int broadcast_sink_stop(void);

#endif /* _BROADCAST_SINK_H */
```

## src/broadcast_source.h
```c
/* Copyright (C) 2025 Alif Semiconductor - All Rights Reserved.
 * Use, distribution and modification of this code is permitted under the
 * terms stated in the Alif Semiconductor Software License Agreement
 *
 * You should have received a copy of the Alif Semiconductor Software
 * License Agreement with this file. If not, please write to:
 * contact@alifsemi.com, or visit: https://alifsemi.com/license
 */

#ifndef _BROADCAST_SOURCE_H
#define _BROADCAST_SOURCE_H

/**
 * @brief Configure the BAP BC source module
 *
 * This function should be called once during initialization.
 * Subsequent calls will be ignored if already configured.
 *
 * @retval 0 on success
 * @retval Negative error code on failure
 */
int broadcast_source_configure(void);

/**
 * @brief Start the LE audio broadcast source
 *
 * This function will configure the modules if not already done,
 * then start the broadcast source.
 *
 * @retval 0 on success
 * @retval Negative error code on failure
 */
int broadcast_source_start(void);

/**
 * @brief Start broadcasting (enable PA and start streaming)
 *
 * This function only starts broadcasting. The BAP BC source modules must
 * be configured first using broadcast_source_configure().
 *
 * @retval 0 on success
 * @retval Negative error code on failure
 */
int broadcast_source_start_broadcasting(void);

/**
 * @brief Stop the LE audio broadcast source
 *
 * @retval 0 on success
 * @retval Negative error code on failure
 */
int broadcast_source_stop(void);

#endif /* _BROADCAST_SOURCE_H */
```

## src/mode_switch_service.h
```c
/* Copyright (C) 2025 Alif Semiconductor - All Rights Reserved.
 * Use, distribution and modification of this code is permitted under the
 * terms stated in the Alif Semiconductor Software License Agreement
 *
 * You should have received a copy of the Alif Semiconductor Software
 * License Agreement with this file. If not, please write to:
 * contact@alifsemi.com, or visit: https://alifsemi.com/license
 */

#ifndef MODE_SWITCH_SERVICE_H_
#define MODE_SWITCH_SERVICE_H_

#include <zephyr/types.h>

/* Mode definitions */
#define MODE_SWITCH_IDLE    0  /* Device in idle mode - not active */
#define MODE_SWITCH_SINK    1  /* Device in broadcast sink mode */
#define MODE_SWITCH_SOURCE  2  /* Device in broadcast source mode */

/**
 * @brief Start the mode switch service
 *
 * This creates and registers the custom GATT service that allows clients
 * to switch between broadcast sink and source modes.
 *
 * @retval 0 if successful
 * @retval Negative error code on failure
 */
int mode_switch_service_start(void);

/**
 * @brief Stop the mode switch service
 *
 * @retval 0 if successful
 * @retval Negative error code on failure
 */
int mode_switch_service_stop(void);

/**
 * @brief Get the current mode
 *
 * @return Current mode (0 = idle, 1 = sink, 2 = source)
 */
uint8_t mode_switch_service_get_mode(void);

/**
 * @brief Set the current mode
 *
 * @param mode New mode (0 = idle, 1 = sink, 2 = source)
 * @retval 0 if successful
 * @retval Negative error code on failure
 */
int mode_switch_service_set_mode(uint8_t mode);



#endif /* MODE_SWITCH_SERVICE_H_ */
```
